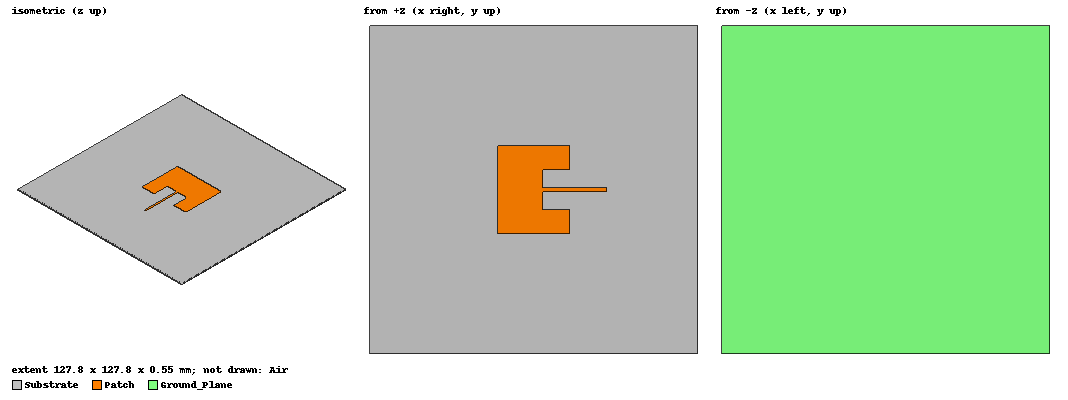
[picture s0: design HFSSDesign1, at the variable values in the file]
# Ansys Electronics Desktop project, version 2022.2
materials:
  vacuum: permittivity=1
  Rogers RO3003 (tm): permittivity=3 dielectric_loss_tangent=0.0013
  Arlon AD300A (tm): permittivity=3 dielectric_loss_tangent=0.002
  CustomDielectric: permittivity=3 dielectric_loss_tangent=0.01
  copper: permeability=0.999991 conductivity=58000000

design HFSSDesign1 (HFSS, DrivenTerminal, model units mm)
options: Save_Adaptive_support_files
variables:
  substrate = L+lambda
  h = 0.5mm
  W = 34.1764mm
  L = 27.7893mm
  lambda = 100mm
  W3 = 1.1934mm
  Fr = 3GHz
  A3 = 7.071mm
  A2 = 10.307mm
  W_R = A3*2+W3
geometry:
  Substrate [CustomDielectric] = box(corner=(-substrate/2, -substrate/2, 0mm), size=(substrate, substrate, -h))
  Ground_Plane [copper] = rectangle(corner=(-substrate/2, -substrate/2, -h), x_size=substrate, y_size=substrate)
  Patch [copper] = rectangle(corner=(-L/2, -W/2, 0mm), x_size=L, y_size=W)
  Source = rectangle(corner=(L/2+lambda/4-A2, -W3/2, 0), y_size=W3, z_size=-h)
  Air [vacuum] = box(corner=(-substrate/2-lambda/8, -substrate/2-lambda/8, -lambda/4), size=(substrate+lambda/4, substrate+lambda/4, lambda/2))
  50O_TLine = rectangle(corner=(L/2-A2, -W3/2, 0mm), x_size=lambda/4, y_size=W3)
  Recessed = rectangle(corner=(L/2-A2, -W_R/2, 0mm), x_size=A2, y_size=W_R)
  Patch.subtract(Recessed)
  Patch.unite(50O_TLine)
  Patch.thicken(0.05mm)
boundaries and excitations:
  Radiation: Radiation Objects=Air
  Ground: Finite Conductivity Objects=Ground_Plane UseMaterial Material=copper IsInternal
  1: Terminal port=P1 Edges=Patch.edge(at (28.5877, 0, 0)) TerminalResistance=50ohm
  P1: Lumped Port Faces=Source.face Impedance=50ohm
  reference conductors: Ground_Plane
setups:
  Setup1: HfssDriven Frequency=3GHz MaxDeltaS=0.02 MaximumPasses=10 MinimumPasses=1 MinimumConvergedPasses=1 PercentRefinement=30 BasisOrder=1 PortAccuracy=2 DrivenSolverType="Direct Solver"
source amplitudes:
  P1:1: 1V 0deg
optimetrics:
  ParametricSetup1: Parametric Sim._Setups=[Setup1]
    sweep A2: LINC 10.4616mm 10.1524mm 20
    calculate dB(St(1,1)) on Setup1 : LastAdaptive at Freq 3GHz
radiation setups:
  Infinite Sphere1: Infinite Sphere Theta=-180deg..180deg step 10deg Phi=0deg..360deg step 10deg
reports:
  Directivity Phi = 90 deg: dB(DirTotal) vs Theta on Setup1 : LastAdaptive, Infinite Sphere1 [Phi=90deg Freq=3GHz]; markers MX1 at x=0, MY1 at y=4.82
  Directivity Pattern Phi = 90 deg: dB(DirTotal) vs Theta on Setup1 : LastAdaptive, Infinite Sphere1 [Phi=90deg Freq=3GHz]; markers m1 at 0deg
  Gain Pattern Phi = 90 deg: dB(GainTotal) vs Theta on Setup1 : LastAdaptive, Infinite Sphere1 [Phi=90deg Freq=3GHz]; markers m1 at 0deg
  3D Far Field Pattern: dB(rETotal) vs Phi, Theta on Setup1 : LastAdaptive, Infinite Sphere1 [Freq=3GHz]
  XY Plot 1: dB(St(1,1)) vs A3 on Setup1 : LastAdaptive [Freq=all A2=all]
  XY Plot 2: dB(St(1,1)) vs A3 on Setup1 : LastAdaptive [Freq=all A2=all]
